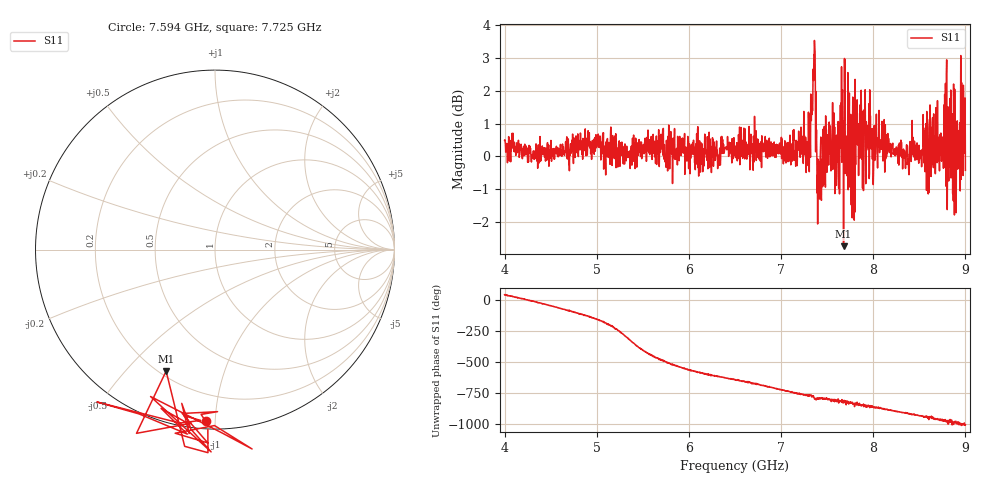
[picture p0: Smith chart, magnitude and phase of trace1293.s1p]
! Created with skrf 1.8.0 (http://scikit-rf.org).
# Hz S RI R 50.0
!freq ReS11 ImS11
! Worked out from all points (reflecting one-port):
!   1601 points, 4 GHz to 9 GHz, reference 50 ohm
!   lowest |S11| = -2.7 dB at 7.678 GHz (marker M1), VSWR 6.40, Z = 11.3 - j32.6 ohm
!   phase of S11 starts at 42 deg and turns -1050 deg over the sweep
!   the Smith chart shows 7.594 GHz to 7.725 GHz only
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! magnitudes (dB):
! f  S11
! 4 GHz  0.5
! 4.625 GHz  0.0
! 5.012 GHz  0.6
! 5.25 GHz  -0.3
! 5.875 GHz  -0.3
! 6.5 GHz  0.3
! 7.125 GHz  0.4
! 7.294 GHz  -0.3
! 7.347 GHz  2.6
! 7.369 GHz  3.2
! 7.397 GHz  -2.1
! 7.412 GHz  -0.7
! 7.547 GHz  0.1
! 7.609 GHz  0.4
! 7.641 GHz  1.2
! 7.659 GHz  -0.2
! 7.669 GHz  0.0
! 7.678 GHz  -2.7
! 7.75 GHz  0.3
! 7.784 GHz  -0.7
! 7.844 GHz  0.8
! 8.375 GHz  0.0
! 8.566 GHz  0.7
! 8.738 GHz  0.3
! 8.834 GHz  1.8
! 8.919 GHz  -0.4
! 8.972 GHz  0.6
! 9 GHz  -0.4
